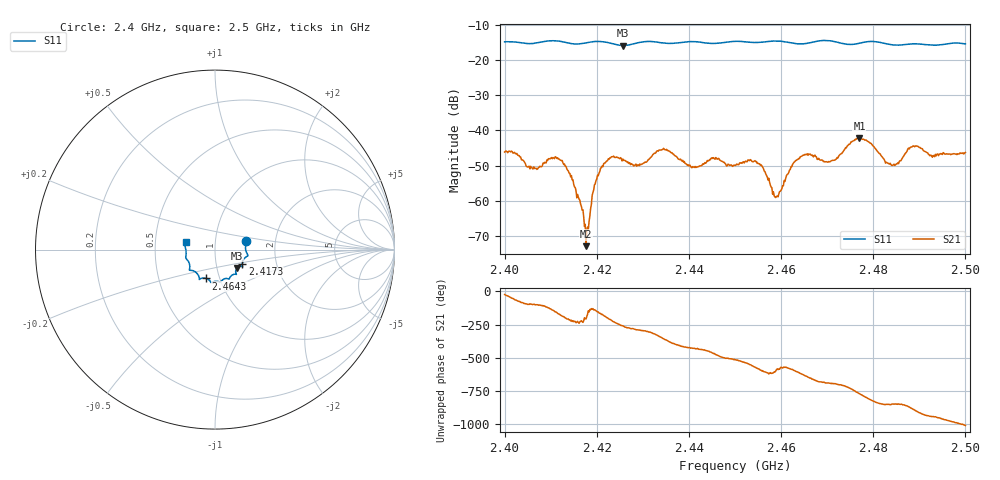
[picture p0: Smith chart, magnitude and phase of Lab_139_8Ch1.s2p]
# Hz S RI R 50
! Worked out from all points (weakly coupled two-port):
!   601 points, 2.4 GHz to 2.5 GHz, reference 50 ohm
!   highest |S21| = -42.29 dB at 2.477 GHz (marker M1); lowest = -72.9 dB at 2.4177 GHz (marker M2)
!   lowest |S11| = -15.9 dB at 2.4257 GHz (marker M3), VSWR 1.38, Z = 62.4 - j13.1 ohm
!   |S11| at or under -10 dB: start of sweep to end of sweep
!   S12 and S22 are empty: the file has one direction only
!   S11 on the Smith chart (normalised r, x): 2.4 GHz: 1.41, +0.14; 2.4173 GHz: 1.34, -0.23; 2.4643 GHz: 0.86, -0.28; 2.5 GHz: 0.72, +0.06
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2.4e9  0.1731 0.0496  0.00449 -0.002  0 0  0 0
2.4065e9  0.1717 -0.00491  -0.000405 -0.00284  0 0  0 0
2.412e9  0.1798 -0.0367  -0.00379 -0.000368  0 0  0 0
2.416667e9  0.1527 -0.0747  -0.000628 0.000543  0 0  0 0
2.417333e9  0.1522 -0.082  -0.000409 0.000137  0 0  0 0
2.417667e9  0.1524 -0.0853  -0.0002 0.000106  0 0  0 0
2.4195e9  0.1541 -0.0964  -0.00126 -0.00112  0 0  0 0
2.421e9  0.154 -0.0961  -0.00293 -0.000295  0 0  0 0
2.425667e9  0.1226 -0.1023  -0.000683 0.00383  0 0  0 0
2.429167e9  0.1162 -0.132  0.00116 0.00292  0 0  0 0
2.433333e9  0.1128 -0.1369  0.00458 0.00215  0 0  0 0
2.441e9  0.0781 -0.1641  0.00107 -0.00281  0 0  0 0
2.45e9  0.0295 -0.1808  -0.00291 -0.0013  0 0  0 0
2.455167e9  0.000251 -0.177  -0.00239 0.00236  0 0  0 0
2.459e9  -0.0217 -0.1839  -0.000728 0.000896  0 0  0 0
2.464333e9  -0.05 -0.1605  -0.000725 0.00418  0 0  0 0
2.466667e9  -0.0761 -0.1599  0.00222 0.00379  0 0  0 0
2.471167e9  -0.0871 -0.162  0.0034 0.00157  0 0  0 0
2.477e9  -0.1267 -0.1164  0.00482 -0.00599  0 0  0 0
2.483333e9  -0.1405 -0.0896  -0.00221 -0.00257  0 0  0 0
2.488833e9  -0.1623 -0.0472  -0.00587 -0.001  0 0  0 0
2.5e9  -0.1634 0.0418  0.00165 0.00455  0 0  0 0
